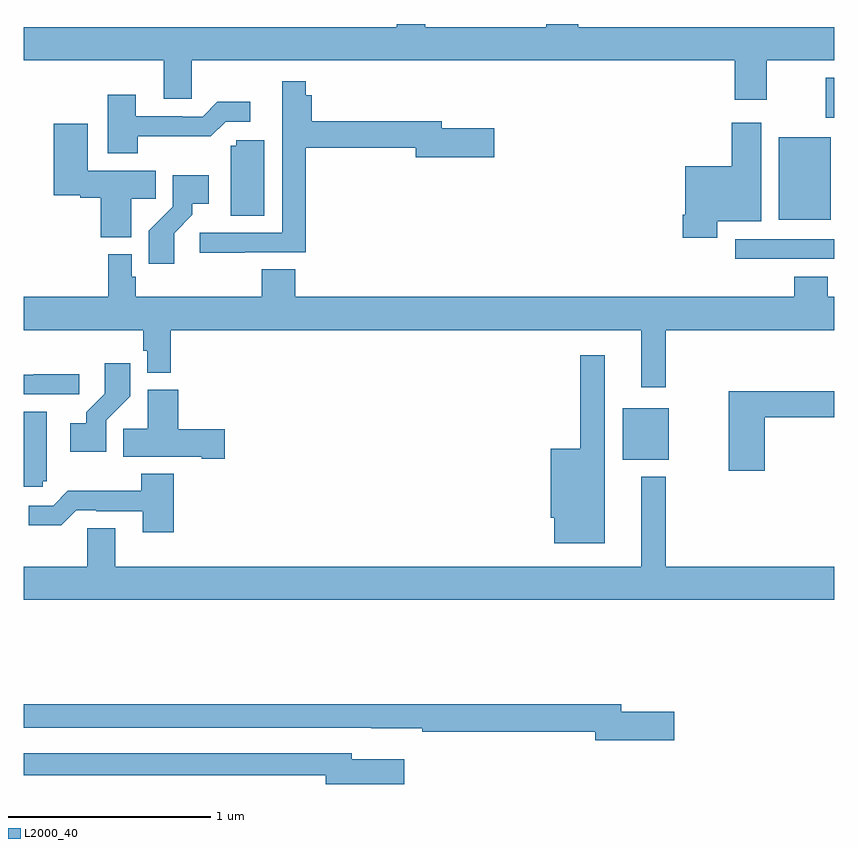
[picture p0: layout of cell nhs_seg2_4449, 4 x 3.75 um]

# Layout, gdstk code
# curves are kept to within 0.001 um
import gdstk
lib = gdstk.Library(unit=1e-6, precision=1e-09)
def R(c, l, rs):  # rectangles x0, y0, x1, y1
    for r in rs: c.add(gdstk.rectangle(r[:2], r[2:], *l))
def P(c, l, *ps):  # polygons
    for p in ps: c.add(gdstk.Polygon(p, *l))
L2000_40 = (2000, 40)

nhs_seg2_4449 = lib.new_cell('nhs_seg2_4449')
R(nhs_seg2_4449, L2000_40, [(353.957,661.649,354.184,661.903), (354.513,662.64,355,662.736), (354.728,662.834,354.985,663.241), (354.958,663.336,355,663.535)])
P(nhs_seg2_4449, L2000_40, [(354.669,663.62),(355,663.62),(355,663.784),(353.738,663.784),(353.738,663.8),(353.578,663.8),(353.578,663.784),(352.981,663.784),(352.981,663.8),(352.841,663.8),(352.841,663.784),(351,663.784),(351,663.62),(351.689,663.62),(351.689,663.43),(351.828,663.43),(351.828,663.62),(354.509,663.62),(354.509,663.426),(354.669,663.426)],
  [(352.091,662.673),(352.391,662.673),(352.391,663.19),(352.934,663.19),(352.934,663.143),(353.323,663.143),(353.323,663.285),(353.062,663.285),(353.062,663.319),(352.421,663.319),(352.421,663.448),(352.391,663.448),(352.391,663.517),(352.275,663.517),(352.275,662.769),(351.867,662.769),(351.867,662.671),(352.091,662.671)],
  [(351.561,663.246),(351.923,663.245),(351.996,663.318),(352.117,663.318),(352.117,663.415),(351.955,663.415),(351.882,663.342),(351.782,663.342),(351.782,663.345),(351.553,663.345),(351.553,663.451),(351.413,663.451),(351.413,663.161),(351.561,663.161)],
  [(354.424,662.825),(354.64,662.825),(354.64,663.313),(354.494,663.313),(354.494,663.097),(354.266,663.097),(354.266,662.857),(354.254,662.857),(354.254,662.745),(354.424,662.745)],
  [(351.529,662.938),(351.65,662.938),(351.65,663.076),(351.316,663.076),(351.316,663.307),(351.146,663.307),(351.146,662.954),(351.279,662.954),(351.279,662.942),(351.38,662.942),(351.38,662.747),(351.529,662.747)],
  [(352.186,663.225),(352.047,663.225),(352.047,663.198),(352.022,663.198),(352.022,662.854),(352.186,662.854)],
  [(351.742,662.767),(351.832,662.857),(351.832,662.912),(351.913,662.912),(351.913,663.052),(351.735,663.052),(351.735,662.897),(351.616,662.778),(351.616,662.616),(351.742,662.616)],
  [(354.169,662.288),(355,662.288),(355,662.452),(354.968,662.452),(354.968,662.551),(354.803,662.551),(354.803,662.452),(352.34,662.452),(352.34,662.588),(352.175,662.588),(352.175,662.452),(351.551,662.452),(351.551,662.553),(351.531,662.553),(351.531,662.662),(351.415,662.662),(351.415,662.452),(351,662.452),(351,662.288),(351.589,662.288),(351.589,662.187),(351.609,662.187),(351.609,662.078),(351.725,662.078),(351.725,662.288),(354.047,662.288),(354.047,662.007),(354.169,662.007)],
  [(353.869,662.164),(353.748,662.164),(353.748,661.702),(353.6,661.702),(353.6,661.362),(353.618,661.362),(353.618,661.235),(353.869,661.235)],
  [(351.405,661.843),(351.524,661.962),(351.524,662.125),(351.399,662.125),(351.399,661.973),(351.308,661.883),(351.308,661.828),(351.228,661.828),(351.228,661.688),(351.405,661.688)],
  [(351.274,662.07),(351.049,662.07),(351.049,662.067),(351,662.067),(351,661.971),(351.274,661.971)],
  [(351.991,661.799),(351.761,661.799),(351.761,661.993),(351.611,661.993),(351.611,661.802),(351.49,661.802),(351.49,661.664),(351.878,661.664),(351.878,661.652),(351.991,661.652)],
  [(354.659,661.858),(355,661.858),(355,661.987),(354.481,661.987),(354.481,661.593),(354.659,661.593)],
  [(351.093,661.542),(351.112,661.542),(351.112,661.886),(351,661.886),(351,661.515),(351.093,661.515)],
  [(351.74,661.579),(351.58,661.579),(351.58,661.495),(351.217,661.495),(351.144,661.422),(351.024,661.422),(351.024,661.325),(351.185,661.325),(351.258,661.398),(351.358,661.398),(351.358,661.395),(351.587,661.395),(351.587,661.29),(351.74,661.29)],
  [(355,661.12),(354.169,661.12),(354.169,661.564),(354.047,661.564),(354.047,661.12),(351.451,661.12),(351.451,661.31),(351.312,661.31),(351.312,661.12),(351,661.12),(351,660.956),(355,660.956)],
  [(354.211,660.404),(353.95,660.404),(353.95,660.44),(351,660.44),(351,660.324),(352.714,660.324),(352.714,660.323),(352.966,660.323),(352.966,660.304),(353.822,660.304),(353.822,660.262),(354.211,660.262)],
  [(352.879,660.169),(352.618,660.169),(352.618,660.198),(351,660.198),(351,660.09),(352.49,660.09),(352.49,660.047),(352.879,660.047)])

lib.write_gds('nhs_seg2_4449.gds')
